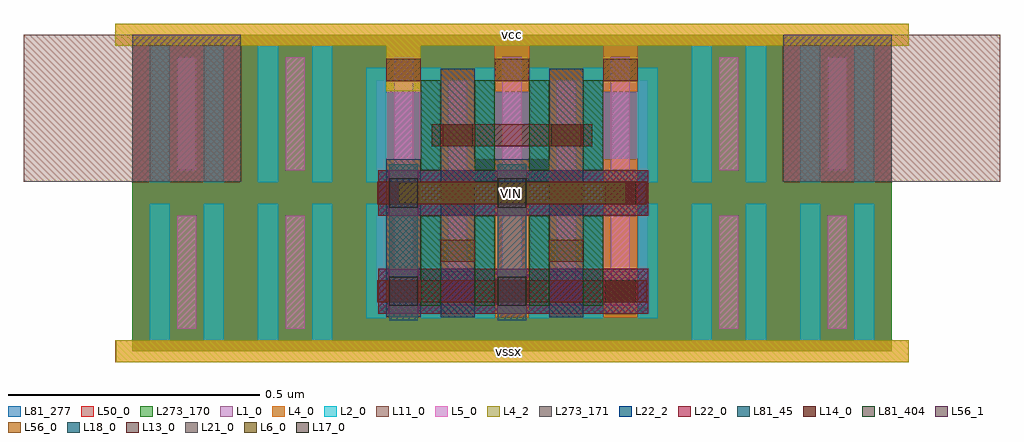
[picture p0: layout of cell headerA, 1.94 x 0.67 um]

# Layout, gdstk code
import gdstk
lib = gdstk.Library(unit=1e-6, precision=5e-10)
def R(c, l, rs):  # rectangles x0, y0, x1, y1
    for r in rs: c.add(gdstk.rectangle(r[:2], r[2:], *l))
def A(c, l, x, y, w, h, nx, ny, dx, dy):  # array of equal rectangles
    R(c, l, [(x+i*dx, y+j*dy, x+i*dx+w, y+j*dy+h) for i in range(nx) for j in range(ny)])
L1_0 = (1, 0)
L2_0 = (2, 0)
L4_0 = (4, 0)
L4_2 = (4, 2)
L5_0 = (5, 0)
L6_0 = (6, 0)
L11_0 = (11, 0)
L13_0 = (13, 0)
L14_0 = (14, 0)
L17_0 = (17, 0)
L18_0 = (18, 0)
L21_0 = (21, 0)
L22_0 = (22, 0)
L22_2 = (22, 2)
L50_0 = (50, 0)
L56_0 = (56, 0)
L56_1 = (56, 1)
L81_45 = (81, 45)
L81_277 = (81, 277)
L81_404 = (81, 404)
L273_170 = (273, 170)
L273_171 = (273, 171)

headera = lib.new_cell('headerA')
A(headera, L1_0, 0.521, 0.09, 0.038, 0.18, 5, 2, 0.108, 0.27)
A(headera, L1_0, 0.574, 0.09, 0.04, 0.18, 4, 2, 0.108, 0.27)
R(headera, L1_0, [(0.486,0.09,0.574,0.27), (0.614,0.09,0.682,0.27), (0.614,0.09,0.682,0.27), (0.722,0.09,0.79,0.27), (0.722,0.09,0.79,0.27), (0.83,0.09,0.898,0.27), (0.83,0.09,0.898,0.27), (0.938,0.09,1.026,0.27), (0.486,0.36,0.574,0.54), (0.614,0.36,0.682,0.54), (0.614,0.36,0.682,0.54), (0.722,0.36,0.79,0.54), (0.722,0.36,0.79,0.54), (0.83,0.36,0.898,0.54), (0.83,0.36,0.898,0.54), (0.938,0.36,1.026,0.54)])
A(headera, L2_0, 0.574, 0.066, 0.04, 0.024, 4, 2, 0.108, 0.204)
A(headera, L2_0, 0.574, 0.09, 0.04, 0.18, 4, 2, 0.108, 0.27)
A(headera, L2_0, 0.574, 0.336, 0.04, 0.024, 4, 2, 0.108, 0.204)
A(headera, L4_0, 0.506, 0.52, 0.068, 0.044, 3, 1, 0.216, 0)
R(headera, L4_0, [(0.506,0.293,0.574,0.337), (0.722,0.293,0.79,0.337), (0.83,0.293,0.898,0.337), (0.614,0.448,0.682,0.492), (0.83,0.448,0.898,0.492)])
R(headera, L4_2, [(-0.0335,-0.022,1.546,0.022)])
A(headera, L5_0, 0.521, 0.09, 0.038, 0.18, 5, 2, 0.108, 0.27)
A(headera, L5_0, 0.629, 0.155, 0.038, 0.003, 4, 2, 0.108, 0.047)
A(headera, L5_0, 0.629, 0.158, 0.038, 0.044, 4, 1, 0.108, 0)
A(headera, L5_0, 0.521, 0.535, 0.038, 0.003, 3, 2, 0.216, 0.047)
A(headera, L5_0, 0.521, 0.538, 0.038, 0.044, 3, 1, 0.216, 0)
R(headera, L5_0, [(0.629,0.445,0.667,0.448), (0.845,0.445,0.883,0.448), (0.629,0.448,0.667,0.492), (0.845,0.448,0.883,0.492), (0.629,0.492,0.667,0.495), (0.845,0.492,0.883,0.495)])
R(headera, L6_0, [(0.531,0.296,0.549,0.334)])
R(headera, L11_0, [(-0.216,0.3375,0.216,0.63), (1.296,0.3375,1.728,0.63)])
A(headera, L13_0, 0.51, 0.097, 0.06, 0.044, 3, 2, 0.216, 0.196)
R(headera, L13_0, [(0.618,0.408,0.678,0.452), (0.834,0.408,0.894,0.452)])
R(headera, L14_0, [(0.488,0.097,1.024,0.141), (0.488,0.293,1.024,0.337), (0.596,0.408,0.916,0.452)])
R(headera, L17_0, [(0.512,0.09,0.568,0.148), (0.728,0.09,0.784,0.148), (0.512,0.286,0.568,0.344), (0.728,0.286,0.784,0.344)])
R(headera, L18_0, [(0.512,0.062,0.568,0.372), (0.728,0.062,0.784,0.372)])
R(headera, L21_0, [(0.511,0.074,0.569,0.164), (0.727,0.074,0.785,0.164), (0.511,0.27,0.569,0.36), (0.727,0.27,0.785,0.36)])
R(headera, L22_0, [(0.49,0.074,1.027,0.164), (0.49,0.27,1.027,0.36)])
R(headera, L22_2, [(0.49,0.074,1.027,0.164), (0.49,0.27,1.027,0.36)])
R(headera, L50_0, [(0,0,1.512,0.63)])
A(headera, L56_0, 0.506, 0.097, 0.068, 0.044, 3, 2, 0.216, 0.441)
R(headera, L56_0, [(0.614,0.178,0.682,0.222), (0.83,0.178,0.898,0.222), (0.506,0.293,0.574,0.337), (0.722,0.293,0.79,0.337), (0.614,0.408,0.682,0.452), (0.83,0.408,0.898,0.452)])
A(headera, L56_1, 0.506, 0.538, 0.068, 0.044, 3, 1, 0.216, 0)
R(headera, L56_1, [(0.506,0.097,0.574,0.141), (0.722,0.097,0.79,0.141), (0.614,0.178,0.682,0.222), (0.83,0.178,0.898,0.222), (0.506,0.293,0.574,0.337), (0.506,0.293,0.574,0.337), (0.506,0.293,0.574,0.337), (0.722,0.293,0.79,0.337), (0.722,0.293,0.79,0.337), (0.722,0.293,0.79,0.337), (0.722,0.293,0.79,0.337), (0.614,0.408,0.682,0.452), (0.83,0.408,0.898,0.452)])
R(headera, L81_45, [(0.614,0.068,0.682,0.562), (0.83,0.068,0.898,0.562), (0.506,0.0685,0.574,0.3825), (0.682,0.338,0.83,0.382)])
A(headera, L81_277, 0.574, 0.09, 0.04, 0.18, 4, 2, 0.108, 0.27)
R(headera, L81_277, [(0,0,0.216,0.63), (0.216,0,1.296,0.63), (1.296,0,1.512,0.63)])
A(headera, L81_404, 0.574, 0.09, 0.04, 0.18, 4, 2, 0.108, 0.27)
A(headera, L273_170, 0.574, 0.09, 0.04, 0.18, 4, 2, 0.108, 0.27)
R(headera, L273_170, [(0,0,0.216,0.3375), (0.216,0,1.296,0.63), (1.296,0,1.512,0.3375)])
R(headera, L273_171, [(0,0.3375,0.216,0.63), (1.296,0.3375,1.512,0.63)])
headera.add(gdstk.FlexPath([(0.531,0.315),(0.981,0.315)], 0.038, ends="flush", simple_path=True, layer=6, datatype=0))  # L6_0
headera.add(gdstk.FlexPath([(-0.034,0.63),(0.25,0.63)], 0.044, ends="flush", simple_path=True, layer=4, datatype=2))  # L4_2
headera.add(gdstk.FlexPath([(0.398,0.63),(0.25,0.63)], 0.044, ends="flush", simple_path=True, layer=4, datatype=2))  # L4_2
headera.add(gdstk.FlexPath([(1.33,0.63),(1.262,0.63)], 0.044, ends="flush", simple_path=True, layer=4, datatype=2))  # L4_2
headera.add(gdstk.FlexPath([(1.114,0.63),(1.046,0.63)], 0.044, ends="flush", simple_path=True, layer=4, datatype=2))  # L4_2
headera.add(gdstk.FlexPath([(0.54,0.518),(0.54,0.608)], 0.068, ends="flush", simple_path=True, layer=4, datatype=2))  # L4_2
headera.add(gdstk.FlexPath([(1.546,0.63),(1.33,0.63)], 0.044, ends="flush", simple_path=True, layer=4, datatype=2))  # L4_2
headera.add(gdstk.FlexPath([(1.262,0.63),(1.114,0.63)], 0.044, ends="flush", simple_path=True, layer=4, datatype=2))  # L4_2
headera.add(gdstk.FlexPath([(1.046,0.63),(0.398,0.63)], 0.044, ends="flush", simple_path=True, layer=4, datatype=2))  # L4_2
headera.add(gdstk.FlexPath([(0.25,0.63),(0.182,0.63)], 0.044, ends="flush", simple_path=True, layer=4, datatype=2))  # L4_2
headera.add(gdstk.FlexPath([(1.458,0.021),(1.458,0.294)], 0.04, ends="flush", simple_path=True, layer=2, datatype=0))  # L2_0
headera.add(gdstk.FlexPath([(1.458,0.336),(1.458,0.609)], 0.04, ends="flush", simple_path=True, layer=2, datatype=0))  # L2_0
headera.add(gdstk.FlexPath([(0.27,0.336),(0.27,0.609)], 0.04, ends="flush", simple_path=True, layer=2, datatype=0))  # L2_0
headera.add(gdstk.FlexPath([(0.378,0.021),(0.378,0.294)], 0.04, ends="flush", simple_path=True, layer=2, datatype=0))  # L2_0
headera.add(gdstk.FlexPath([(0.27,0.021),(0.27,0.294)], 0.04, ends="flush", simple_path=True, layer=2, datatype=0))  # L2_0
headera.add(gdstk.FlexPath([(0.378,0.336),(0.378,0.609)], 0.04, ends="flush", simple_path=True, layer=2, datatype=0))  # L2_0
headera.add(gdstk.FlexPath([(1.242,0.336),(1.242,0.609)], 0.04, ends="flush", simple_path=True, layer=2, datatype=0))  # L2_0
headera.add(gdstk.FlexPath([(1.242,0.021),(1.242,0.294)], 0.04, ends="flush", simple_path=True, layer=2, datatype=0))  # L2_0
headera.add(gdstk.FlexPath([(1.134,0.021),(1.134,0.294)], 0.04, ends="flush", simple_path=True, layer=2, datatype=0))  # L2_0
headera.add(gdstk.FlexPath([(1.134,0.336),(1.134,0.609)], 0.04, ends="flush", simple_path=True, layer=2, datatype=0))  # L2_0
headera.add(gdstk.FlexPath([(1.35,0.336),(1.35,0.609)], 0.04, ends="flush", simple_path=True, layer=2, datatype=0))  # L2_0
headera.add(gdstk.FlexPath([(1.35,0.021),(1.35,0.294)], 0.04, ends="flush", simple_path=True, layer=2, datatype=0))  # L2_0
headera.add(gdstk.FlexPath([(1.026,0.336),(1.026,0.564)], 0.04, ends="flush", simple_path=True, layer=2, datatype=0))  # L2_0
headera.add(gdstk.FlexPath([(1.026,0.066),(1.026,0.294)], 0.04, ends="flush", simple_path=True, layer=2, datatype=0))  # L2_0
headera.add(gdstk.FlexPath([(0.702,0.294),(0.702,0.336)], 0.04, ends="flush", simple_path=True, layer=2, datatype=0))  # L2_0
headera.add(gdstk.FlexPath([(0.594,0.294),(0.594,0.336)], 0.04, ends="flush", simple_path=True, layer=2, datatype=0))  # L2_0
headera.add(gdstk.FlexPath([(0.054,0.021),(0.054,0.294)], 0.04, ends="flush", simple_path=True, layer=2, datatype=0))  # L2_0
headera.add(gdstk.FlexPath([(0.486,0.336),(0.486,0.564)], 0.04, ends="flush", simple_path=True, layer=2, datatype=0))  # L2_0
headera.add(gdstk.FlexPath([(0.486,0.066),(0.486,0.294)], 0.04, ends="flush", simple_path=True, layer=2, datatype=0))  # L2_0
headera.add(gdstk.FlexPath([(0.918,0.294),(0.918,0.336)], 0.04, ends="flush", simple_path=True, layer=2, datatype=0))  # L2_0
headera.add(gdstk.FlexPath([(0.054,0.336),(0.054,0.609)], 0.04, ends="flush", simple_path=True, layer=2, datatype=0))  # L2_0
headera.add(gdstk.FlexPath([(0.162,0.021),(0.162,0.294)], 0.04, ends="flush", simple_path=True, layer=2, datatype=0))  # L2_0
headera.add(gdstk.FlexPath([(0.162,0.336),(0.162,0.609)], 0.04, ends="flush", simple_path=True, layer=2, datatype=0))  # L2_0
headera.add(gdstk.FlexPath([(0.81,0.294),(0.81,0.336)], 0.04, ends="flush", simple_path=True, layer=2, datatype=0))  # L2_0
headera.add(gdstk.FlexPath([(-0.034,0),(1.546,0)], 0.044, ends="flush", simple_path=True, layer=4, datatype=0))  # L4_0
headera.add(gdstk.FlexPath([(0.972,0.068),(0.972,0.382)], 0.068, ends="flush", simple_path=True, layer=4, datatype=0))  # L4_0
headera.add(gdstk.FlexPath([(0.864,0.158),(0.864,0.562)], 0.068, ends="flush", simple_path=True, layer=4, datatype=0))  # L4_0
headera.add(gdstk.FlexPath([(0.756,0.068),(0.756,0.382)], 0.068, ends="flush", simple_path=True, layer=4, datatype=0))  # L4_0
headera.add(gdstk.FlexPath([(0.648,0.158),(0.648,0.562)], 0.068, ends="flush", simple_path=True, layer=4, datatype=0))  # L4_0
headera.add(gdstk.FlexPath([(0.54,0.068),(0.54,0.382)], 0.068, ends="flush", simple_path=True, layer=4, datatype=0))  # L4_0
headera.add(gdstk.FlexPath([(-0.034,0.63),(1.546,0.63)], 0.044, ends="flush", simple_path=True, layer=4, datatype=0))  # L4_0
headera.add(gdstk.FlexPath([(0.972,0.518),(0.972,0.608)], 0.068, ends="flush", simple_path=True, layer=4, datatype=0))  # L4_0
headera.add(gdstk.FlexPath([(0.756,0.518),(0.756,0.608)], 0.068, ends="flush", simple_path=True, layer=4, datatype=0))  # L4_0
headera.add(gdstk.FlexPath([(0.54,0.518),(0.54,0.608)], 0.068, ends="flush", simple_path=True, layer=4, datatype=0))  # L4_0
headera.add(gdstk.FlexPath([(1.404,0.36),(1.404,0.585)], 0.038, ends="flush", simple_path=True, layer=5, datatype=0))  # L5_0
headera.add(gdstk.FlexPath([(1.404,0.045),(1.404,0.27)], 0.038, ends="flush", simple_path=True, layer=5, datatype=0))  # L5_0
headera.add(gdstk.FlexPath([(0.324,0.045),(0.324,0.27)], 0.038, ends="flush", simple_path=True, layer=5, datatype=0))  # L5_0
headera.add(gdstk.FlexPath([(0.324,0.36),(0.324,0.585)], 0.038, ends="flush", simple_path=True, layer=5, datatype=0))  # L5_0
headera.add(gdstk.FlexPath([(1.188,0.36),(1.188,0.585)], 0.038, ends="flush", simple_path=True, layer=5, datatype=0))  # L5_0
headera.add(gdstk.FlexPath([(1.188,0.045),(1.188,0.27)], 0.038, ends="flush", simple_path=True, layer=5, datatype=0))  # L5_0
headera.add(gdstk.FlexPath([(0.108,0.36),(0.108,0.585)], 0.038, ends="flush", simple_path=True, layer=5, datatype=0))  # L5_0
headera.add(gdstk.FlexPath([(0.108,0.045),(0.108,0.27)], 0.038, ends="flush", simple_path=True, layer=5, datatype=0))  # L5_0
headera.add(gdstk.Label('VIN', (0.7545,0.315), layer=22, texttype=2))
headera.add(gdstk.Label('vssx', (0.7485,0), layer=4, texttype=2))
headera.add(gdstk.Label('vcc', (0.756,0.63), layer=4, texttype=2))
headera.add(gdstk.Label('vcc', (0.756,0.63), layer=4, texttype=0))

lib.write_gds('headerA.gds')
